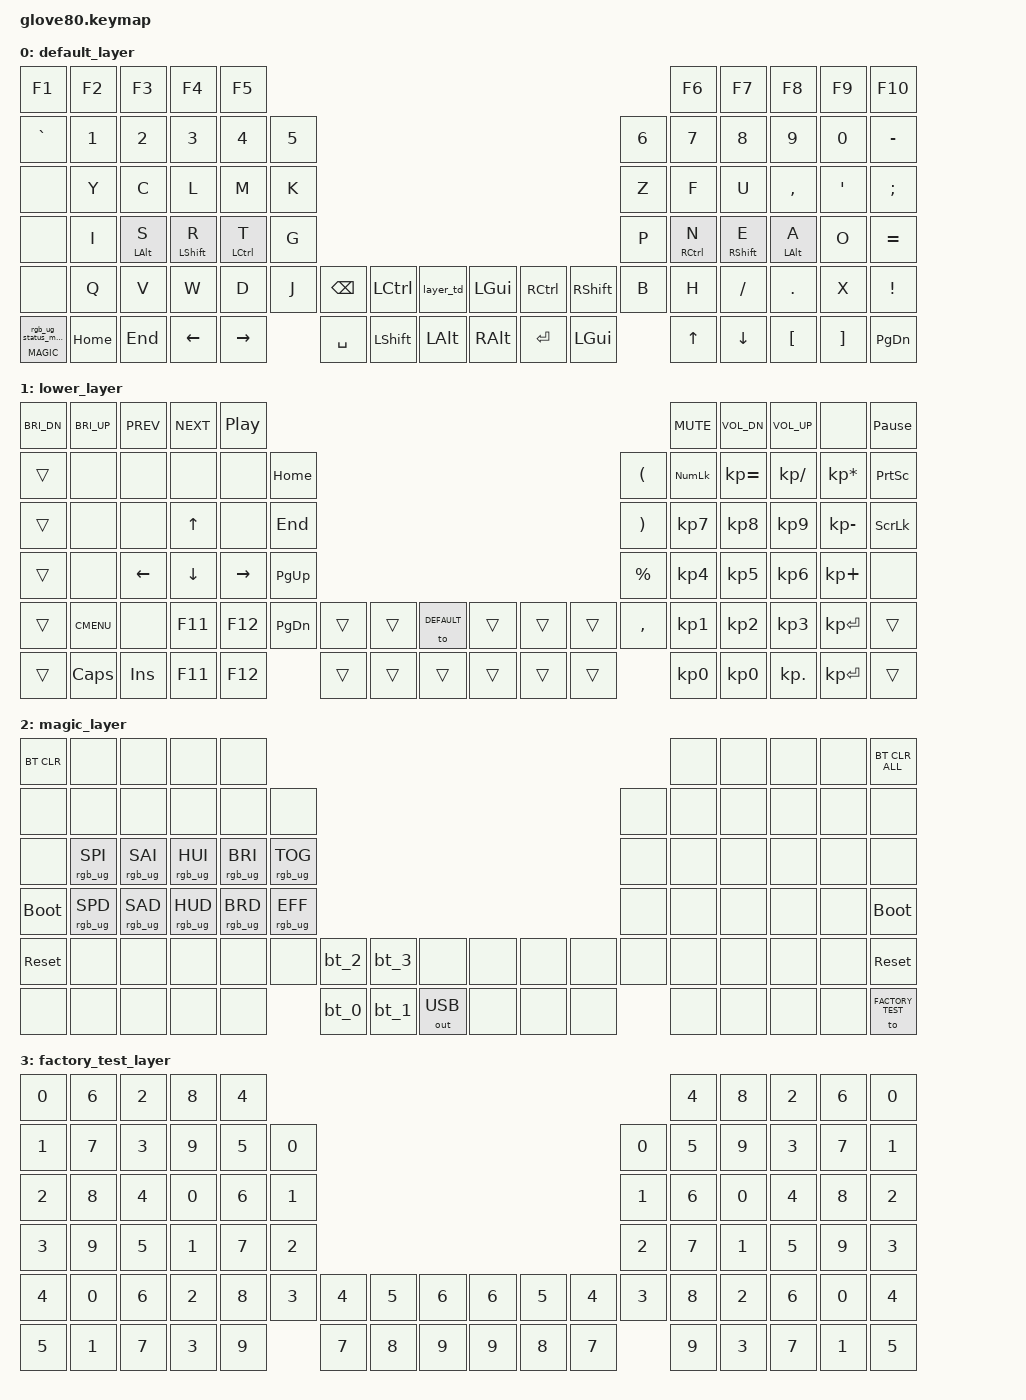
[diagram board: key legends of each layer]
/*
 * Copyright (c) 2020 The ZMK Contributors
 *
 * SPDX-License-Identifier: MIT
 */

#include <behaviors.dtsi>
#include <dt-bindings/zmk/keys.h>
#include <dt-bindings/zmk/bt.h>
#include <dt-bindings/zmk/ext_power.h>
#include <dt-bindings/zmk/outputs.h>
#include <dt-bindings/zmk/rgb.h>

#define HYPER LC(LS(LG(LALT)))

// layers
#define DEFAULT 0
#define LOWER 1
#define MAGIC 2
#define FACTORY_TEST 3

/ {
    behaviors {
        // For the "layer" key, it'd nice to be able to use it as either a shift or a toggle.
        // Configure it as a tap dance, so the first tap (or hold) is a &mo and the second tap is a &to
        layer_td: tap_dance_0 {
            compatible = "zmk,behavior-tap-dance";
            label = "LAYER_TAP_DANCE";
            #binding-cells = <0>;
            tapping-term-ms = <200>;
            bindings = <&mo LOWER>, <&to LOWER>;
        };

        magic: magic_hold_tap {
            compatible = "zmk,behavior-hold-tap";
            label = "MAGIC_HOLD_TAP";
            #binding-cells = <2>;
            flavor = "tap-preferred";
            tapping-term-ms = <200>;
            bindings = <&mo>, <&rgb_ug_status_macro>;
        };
    };

    macros {
        rgb_ug_status_macro: rgb_ug_status_macro_0 {
            label = "RGB_UG_STATUS";
            compatible = "zmk,behavior-macro";
            #binding-cells = <0>;
            bindings
                = <&rgb_ug RGB_STATUS>;
        };

        bt_0: bt_profile_macro_0 {
            label = "BT_0";
            compatible = "zmk,behavior-macro";
            #binding-cells = <0>;
            bindings
                = <&out OUT_BLE>,
                  <&bt BT_SEL 0>;
        };

        bt_1: bt_profile_macro_1 {
            label = "BT_1";
            compatible = "zmk,behavior-macro";
            #binding-cells = <0>;
            bindings
                = <&out OUT_BLE>,
                  <&bt BT_SEL 1>;
        };

        bt_2: bt_profile_macro_2 {
            label = "BT_2";
            compatible = "zmk,behavior-macro";
            #binding-cells = <0>;
            bindings
                = <&out OUT_BLE>,
                  <&bt BT_SEL 2>;
        };

        bt_3: bt_profile_macro_3 {
            label = "BT_3";
            compatible = "zmk,behavior-macro";
            #binding-cells = <0>;
            bindings
                = <&out OUT_BLE>,
                  <&bt BT_SEL 3>;
        };
    };

    keymap {
        compatible = "zmk,keymap";

        default_layer {
            bindings = <
            &kp F1         &kp F2   &kp F3      &kp F4      &kp F5                                                                                         &kp F6      &kp F7      &kp F8      &kp F9   &kp F10
            &kp GRAVE      &kp N1   &kp N2      &kp N3      &kp N4      &kp N5                                                                     &kp N6  &kp N7      &kp N8      &kp N9      &kp N0   &kp MINUS
            &none          &kp Y    &kp C       &kp L       &kp M       &kp K                                                                      &kp Z   &kp F       &kp U       &kp COMMA   &kp SQT  &kp SEMI
            &none          &kp I    &mt LALT S  &mt LSHFT R &mt LCTRL T &kp G                                                                      &kp P   &mt RCTRL N &mt RSHFT E &mt LALT A  &kp O    &kp EQUAL
            &none          &kp Q    &kp V       &kp W       &kp D       &kp J   &kp BKSP    &kp LCTRL   &layer_td  &kp LGUI  &kp RCTRL &kp RSHFT   &kp B   &kp H       &kp FSLH    &kp DOT     &kp X    &kp EXCL
            &magic MAGIC 0 &kp HOME &kp END     &kp LEFT    &kp RIGHT           &kp SPACE   &kp LSHFT   &kp LALT   &kp RALT  &kp RET   &kp LGUI            &kp UP      &kp DOWN    &kp LBKT    &kp RBKT &kp PG_DN
            >;
        };

        lower_layer {
            bindings = <
            &kp C_BRI_DN      &kp C_BRI_UP        &kp C_PREV      &kp C_NEXT      &kp C_PP                                                                                                           &kp C_MUTE   &kp C_VOL_DN &kp C_VOL_UP  &none           &kp PAUSE_BREAK
            &trans            &none               &none           &none           &none           &kp HOME                                                                              &kp LPAR     &kp KP_NUM   &kp KP_EQUAL &kp KP_DIVIDE &kp KP_MULTIPLY &kp PSCRN
            &trans            &none               &none           &kp UP          &none           &kp END                                                                               &kp RPAR     &kp KP_N7    &kp KP_N8    &kp KP_N9     &kp KP_MINUS    &kp SLCK
            &trans            &none               &kp LEFT        &kp DOWN        &kp RIGHT       &kp PG_UP                                                                             &kp PRCNT    &kp KP_N4    &kp KP_N5    &kp KP_N6     &kp KP_PLUS     &none
            &trans            &kp K_CMENU         &none           &kp F11         &kp F12         &kp PG_DN       &trans      &trans      &to DEFAULT &trans      &trans      &trans    &kp COMMA    &kp KP_N1    &kp KP_N2    &kp KP_N3     &kp KP_ENTER    &trans
            &trans            &kp CAPS            &kp INS         &kp F11         &kp F12                         &trans      &trans      &trans      &trans      &trans      &trans                 &kp KP_N0    &kp KP_N0    &kp KP_DOT    &kp KP_ENTER    &trans
            >;
        };

        magic_layer {
            bindings = <
            &bt BT_CLR        &none               &none           &none           &none                                                                                                           &none      &none      &none      &none      &bt BT_CLR_ALL
            &none             &none               &none           &none           &none           &none                                                                                &none      &none      &none      &none      &none      &none
            &none             &rgb_ug RGB_SPI     &rgb_ug RGB_SAI &rgb_ug RGB_HUI &rgb_ug RGB_BRI &rgb_ug RGB_TOG                                                                      &none      &none      &none      &none      &none      &none
            &bootloader       &rgb_ug RGB_SPD     &rgb_ug RGB_SAD &rgb_ug RGB_HUD &rgb_ug RGB_BRD &rgb_ug RGB_EFF                                                                      &none      &none      &none      &none      &none      &bootloader
            &sys_reset        &none               &none           &none           &none           &none           &bt_2     &bt_3     &none            &none     &none     &none       &none      &none      &none      &none      &none      &sys_reset
            &none             &none               &none           &none           &none                           &bt_0     &bt_1     &out OUT_USB     &none     &none     &none                  &none      &none      &none      &none      &to FACTORY_TEST
            >;
        };

        factory_test_layer {
            bindings = <
            &kp N0   &kp N6   &kp N2   &kp N8   &kp N4                                                                              &kp N4   &kp N8   &kp N2   &kp N6   &kp N0
            &kp N1   &kp N7   &kp N3   &kp N9   &kp N5   &kp N0                                                            &kp N0   &kp N5   &kp N9   &kp N3   &kp N7   &kp N1
            &kp N2   &kp N8   &kp N4   &kp N0   &kp N6   &kp N1                                                            &kp N1   &kp N6   &kp N0   &kp N4   &kp N8   &kp N2
            &kp N3   &kp N9   &kp N5   &kp N1   &kp N7   &kp N2                                                            &kp N2   &kp N7   &kp N1   &kp N5   &kp N9   &kp N3
            &kp N4   &kp N0   &kp N6   &kp N2   &kp N8   &kp N3   &kp N4   &kp N5   &kp N6      &kp N6   &kp N5   &kp N4   &kp N3   &kp N8   &kp N2   &kp N6   &kp N0   &kp N4
            &kp N5   &kp N1   &kp N7   &kp N3   &kp N9            &kp N7   &kp N8   &kp N9      &kp N9   &kp N8   &kp N7            &kp N9   &kp N3   &kp N7   &kp N1   &kp N5
            >;
        };
    };
};
